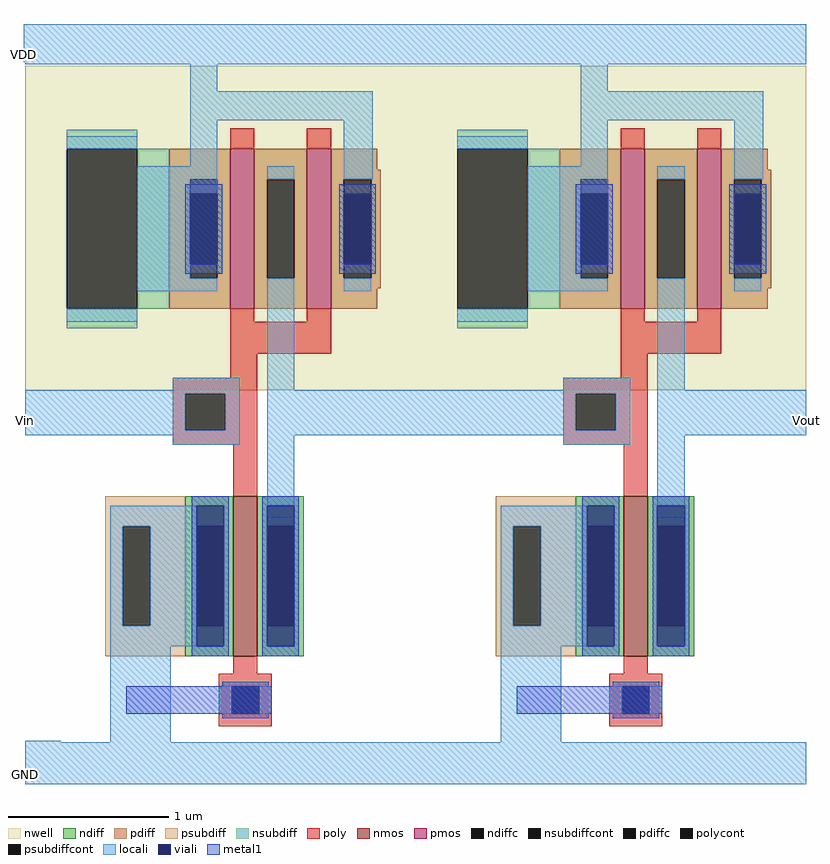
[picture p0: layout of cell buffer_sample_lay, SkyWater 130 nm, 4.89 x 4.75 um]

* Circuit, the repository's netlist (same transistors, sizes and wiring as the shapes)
* SPICE3 file created from buffer_sample_lay.ext - technology: sky130A

.subckt sky130_fd_pr__nfet_01v8_7RYEVP a_n73_n69# a_n33_n157# a_15_n69# VSUBS
X0 a_15_n69# a_n33_n157# a_n73_n69# VSUBS sky130_fd_pr__nfet_01v8 ad=2.9e+11p pd=2.58e+06u as=2.9e+11p ps=2.58e+06u w=1e+06u l=150000u
.ends

.subckt nmos_1u sky130_fd_pr__nfet_01v8_7RYEVP_0/VSUBS sky130_fd_pr__nfet_01v8_7RYEVP_0/a_15_n69#
+ m1_n86_2#
Xsky130_fd_pr__nfet_01v8_7RYEVP_0 sky130_fd_pr__nfet_01v8_7RYEVP_0/VSUBS m1_n86_2#
+ sky130_fd_pr__nfet_01v8_7RYEVP_0/a_15_n69# sky130_fd_pr__nfet_01v8_7RYEVP_0/VSUBS
+ sky130_fd_pr__nfet_01v8_7RYEVP
.ends

.subckt pmos_2uf2 a_63_n100# a_33_n130# w_n317_n202# a_n33_n100# a_n63_n130# VSUBS
X0 a_63_n100# a_33_n130# a_n33_n100# w_n317_n202# sky130_fd_pr__pfet_01v8 ad=3.048e+11p pd=2.62e+06u as=3.3e+11p ps=2.66e+06u w=1e+06u l=150000u
X1 a_n33_n100# a_n63_n130# w_n317_n202# w_n317_n202# sky130_fd_pr__pfet_01v8 ad=0p pd=0u as=3.8e+11p ps=2.76e+06u w=1e+06u l=150000u
.ends

.subckt inv_W1 Vout Vin VDD GND
Xnmos_1u_0 GND Vout Vin nmos_1u
Xpmos_2uf2_0 VDD Vin VDD Vout Vin GND pmos_2uf2
.ends


* Top level circuit buffer_sample_lay

Xinv_W1_0 inv_W1_1/Vin Vin VDD GND inv_W1
Xinv_W1_1 Vout inv_W1_1/Vin VDD GND inv_W1
.global VDD
.global GND
.end

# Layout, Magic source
magic
tech sky130A
<< locali >>
rect -1 451 17 475
rect 0 218 21 246
rect 475 218 488 246
rect 0 1 22 27
use inv_W1  inv_W1_0
transform 1 0 50 0 1 36
box -50 -36 194 439
use inv_W1  inv_W1_1
transform 1 0 294 0 1 36
box -50 -36 194 439
<< labels >>
rlabel locali 0 6 0 6 7 GND
rlabel locali 0 227 0 227 7 Vin
rlabel locali -1 456 -1 456 7 VDD
rlabel locali 488 227 488 227 3 Vout
<< end >>

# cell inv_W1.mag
magic
tech sky130A
magscale 1 2
<< nwell >>
rect -100 420 -98 826
rect 106 758 334 794
rect 156 432 282 494
<< poly >>
rect 156 466 282 506
rect 156 436 190 466
rect 84 416 190 436
rect 84 370 100 416
rect 150 370 190 416
rect 84 352 190 370
rect 160 298 190 352
<< polycont >>
rect 100 370 150 416
<< locali >>
rect -100 828 388 878
rect 106 794 140 828
rect 106 758 334 794
rect 106 578 140 758
rect 298 684 334 758
rect 84 420 168 436
rect -100 416 168 420
rect -100 370 100 416
rect 150 370 168 416
rect -100 364 168 370
rect 84 352 168 364
rect 202 420 236 556
rect 202 364 388 420
rect 202 260 236 364
rect 6 -20 82 114
rect -100 -72 388 -20
use nmos_1u  nmos_1u_0
transform 1 0 112 0 1 14
box -112 -14 136 300
use pmos_2uf2  pmos_2uf2_0
transform 1 0 219 0 1 622
box -317 -202 169 204
<< labels >>
rlabel locali -100 390 -100 390 7 Vin
rlabel locali 388 392 388 392 3 Vout
rlabel locali -100 854 -100 854 7 VDD
rlabel locali -100 -46 -100 -46 7 GND
<< end >>

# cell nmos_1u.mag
magic
tech sky130A
magscale 1 2
<< ndiff >>
rect -12 74 -10 274
<< psubdiff >>
rect -112 236 -12 274
rect -112 112 -90 236
rect -56 112 -12 236
rect -112 74 -12 112
<< psubdiffcont >>
rect -90 112 -56 236
<< locali >>
rect -106 236 2 262
rect -106 112 -90 236
rect -56 112 2 236
rect -106 86 2 112
<< metal1 >>
rect -86 2 96 36
use sky130_fd_pr__nfet_01v8_7RYEVP  sky130_fd_pr__nfet_01v8_7RYEVP_0 ~/my_sky130_project/mag/myinv_layout2
transform 1 0 63 0 1 143
box -73 -157 73 157
<< end >>

# cell pmos_2uf2: kit device sky130_fd_pr__pfet_01v8, w 1 l 0.15 m 1 nf 2 diffcov 70 polycov 70 guard 0 glc 0 grc 0 gtc 0 gbc 0 tbcov 70 rlcov 70 topc 1 botc 1 poverlap 0 doverlap 1 lmin 0.15 wmin 0.42 compatible {sky130_fd_pr__pfet_01v8 sky130_fd_pr__pfet_01v8_lvt sky130_fd_pr__pfet_01v8_hvt sky130_fd_pr__pfet_g5v0d10v5} full_metal 0 viasrc 50 viadrn 50 viagate 50 viagb 0 viagr 0 viagl 0 viagt 0

# cell sky130_fd_pr__nfet_01v8_7RYEVP: kit device sky130_fd_pr__nfet_01v8, w 1 l 0.150 m 1 nf 1 diffcov 70 polycov 70 guard 0 glc 0 grc 0 gtc 0 gbc 0 tbcov 70 rlcov 70 topc 0 botc 1 poverlap 0 doverlap 1 lmin 0.15 wmin 0.42 compatible {sky130_fd_pr__nfet_01v8 sky130_fd_pr__nfet_01v8_lvt sky130_fd_bs_flash__special_sonosfet_star sky130_fd_pr__nfet_g5v0d10v5 sky130_fd_pr__nfet_05v0_nvt sky130_fd_pr__nfet_03v3_nvt} full_metal 0 viasrc 100 viadrn 100 viagate 100 viagb 0 viagr 0 viagl 0 viagt 0
